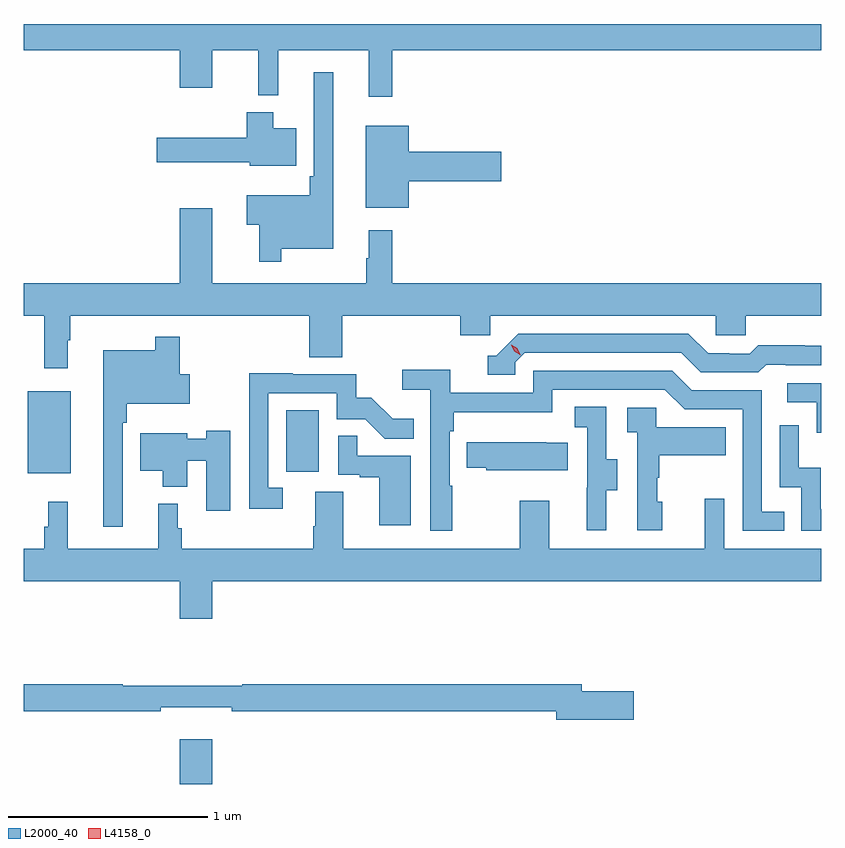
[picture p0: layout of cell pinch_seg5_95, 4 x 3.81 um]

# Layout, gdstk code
import gdstk
lib = gdstk.Library(unit=1e-6, precision=1e-09)
def R(c, l, rs):  # rectangles x0, y0, x1, y1
    for r in rs: c.add(gdstk.rectangle(r[:2], r[2:], *l))
def P(c, l, *ps):  # polygons
    for p in ps: c.add(gdstk.Polygon(p, *l))
L2000_40 = (2000, 40)
L4158_0 = (4158, 0)

pinch_seg5_95 = lib.new_cell('pinch_seg5_95')
R(pinch_seg5_95, L2000_40, [(1076.096,911.687,1076.26,911.911), (1075.334,913.247,1075.549,913.657), (1076.63,913.254,1076.794,913.561)])
P(pinch_seg5_95, L2000_40, [(1077.161,915.368),(1079.314,915.368),(1079.314,915.5),(1075.314,915.5),(1075.314,915.368),(1076.096,915.368),(1076.096,915.18),(1076.26,915.18),(1076.26,915.368),(1076.491,915.368),(1076.491,915.143),(1076.591,915.143),(1076.591,915.368),(1077.044,915.368),(1077.044,915.135),(1077.161,915.135)],
  [(1076.605,914.372),(1076.866,914.372),(1076.866,915.259),(1076.769,915.259),(1076.769,914.737),(1076.749,914.737),(1076.749,914.641),(1076.432,914.641),(1076.432,914.494),(1076.494,914.494),(1076.494,914.307),(1076.605,914.307)],
  [(1076.68,914.977),(1076.566,914.977),(1076.566,915.058),(1076.432,915.058),(1076.432,914.929),(1075.98,914.929),(1075.98,914.807),(1076.448,914.807),(1076.448,914.789),(1076.68,914.789)],
  [(1077.244,914.711),(1077.709,914.711),(1077.709,914.858),(1077.244,914.858),(1077.244,914.989),(1077.029,914.989),(1077.029,914.579),(1077.244,914.579)],
  [(1075.534,913.913),(1075.546,913.913),(1075.546,914.036),(1076.747,914.036),(1076.747,913.828),(1076.912,913.828),(1076.912,914.036),(1077.503,914.036),(1077.503,913.938),(1077.654,913.938),(1077.654,914.036),(1078.785,914.036),(1078.785,913.938),(1078.935,913.938),(1078.935,914.036),(1079.314,914.036),(1079.314,914.2),(1077.161,914.2),(1077.161,914.464),(1077.044,914.464),(1077.044,914.324),(1077.033,914.324),(1077.033,914.2),(1076.26,914.2),(1076.26,914.575),(1076.096,914.575),(1076.096,914.2),(1075.314,914.2),(1075.314,914.036),(1075.417,914.036),(1075.417,913.773),(1075.534,913.773)],
  [(1077.78,913.803),(1077.828,913.851),(1078.611,913.851),(1078.71,913.752),(1078.999,913.752),(1079.038,913.791),(1079.137,913.791),(1079.137,913.788),(1079.314,913.788),(1079.314,913.885),(1079.232,913.885),(1079.232,913.888),(1078.999,913.888),(1078.957,913.845),(1078.854,913.845),(1078.854,913.848),(1078.747,913.848),(1078.648,913.947),(1077.795,913.947),(1077.684,913.836),(1077.641,913.836),(1077.641,913.74),(1077.78,913.74)],
  [(1075.809,913.499),(1075.829,913.499),(1075.829,913.595),(1076.146,913.595),(1076.146,913.743),(1076.095,913.743),(1076.095,913.93),(1075.974,913.93),(1075.974,913.864),(1075.712,913.864),(1075.712,912.978),(1075.809,912.978)],
  [(1077.463,913.184),(1077.45,913.184),(1077.45,913.457),(1077.47,913.457),(1077.47,913.553),(1077.966,913.553),(1077.966,913.665),(1078.53,913.665),(1078.629,913.566),(1078.92,913.566),(1078.92,912.957),(1079.129,912.957),(1079.129,913.053),(1079.016,913.053),(1079.016,913.662),(1078.666,913.662),(1078.567,913.761),(1077.87,913.761),(1077.87,913.65),(1077.452,913.65),(1077.452,913.766),(1077.213,913.766),(1077.213,913.664),(1077.354,913.664),(1077.354,912.957),(1077.463,912.957)],
  [(1076.614,913.173),(1076.541,913.173),(1076.541,913.647),(1076.883,913.647),(1076.883,913.518),(1077.027,913.518),(1077.125,913.42),(1077.269,913.42),(1077.269,913.519),(1077.165,913.519),(1077.058,913.626),(1076.982,913.626),(1076.982,913.743),(1076.663,913.743),(1076.663,913.748),(1076.445,913.748),(1076.445,913.068),(1076.614,913.068)],
  [(1079.314,913.698),(1079.145,913.698),(1079.145,913.602),(1079.292,913.602),(1079.292,913.449),(1079.314,913.449)],
  [(1078.237,913.162),(1078.291,913.162),(1078.291,913.317),(1078.236,913.317),(1078.236,913.58),(1078.077,913.58),(1078.077,913.477),(1078.14,913.477),(1078.14,913.173),(1078.139,913.173),(1078.139,912.96),(1078.237,912.96)],
  [(1078.516,913.104),(1078.491,913.104),(1078.491,913.223),(1078.501,913.223),(1078.501,913.337),(1078.835,913.337),(1078.835,913.477),(1078.488,913.477),(1078.488,913.575),(1078.341,913.575),(1078.341,913.451),(1078.392,913.451),(1078.392,912.96),(1078.516,912.96)],
  [(1079.314,913.066),(1079.312,913.066),(1079.312,913.274),(1079.202,913.274),(1079.202,913.486),(1079.106,913.486),(1079.106,913.176),(1079.214,913.176),(1079.214,912.957),(1079.314,912.957)],
  [(1076.35,913.46),(1076.228,913.46),(1076.228,913.418),(1076.134,913.418),(1076.134,913.447),(1075.898,913.447),(1075.898,913.259),(1076.012,913.259),(1076.012,913.178),(1076.134,913.178),(1076.134,913.308),(1076.228,913.308),(1076.228,913.059),(1076.35,913.059)],
  [(1077.256,913.335),(1076.987,913.335),(1076.987,913.433),(1076.892,913.433),(1076.892,913.239),(1076.999,913.239),(1076.999,913.227),(1077.098,913.227),(1077.098,912.984),(1077.256,912.984)],
  [(1078.043,913.399),(1077.935,913.399),(1077.935,913.402),(1077.535,913.402),(1077.535,913.273),(1077.633,913.273),(1077.633,913.262),(1078.043,913.262)],
  [(1076.26,912.704),(1079.314,912.704),(1079.314,912.868),(1078.827,912.868),(1078.827,913.117),(1078.73,913.117),(1078.73,912.868),(1077.949,912.868),(1077.949,913.108),(1077.802,913.108),(1077.802,912.868),(1076.917,912.868),(1076.917,913.154),(1076.777,913.154),(1076.777,912.98),(1076.765,912.98),(1076.765,912.868),(1076.105,912.868),(1076.105,912.971),(1076.086,912.971),(1076.086,913.093),(1075.988,913.093),(1075.988,912.868),(1075.535,912.868),(1075.535,913.102),(1075.436,913.102),(1075.436,912.977),(1075.417,912.977),(1075.417,912.868),(1075.314,912.868),(1075.314,912.704),(1076.096,912.704),(1076.096,912.516),(1076.26,912.516)],
  [(1078.375,912.152),(1078.114,912.152),(1078.114,912.188),(1076.41,912.188),(1076.41,912.181),(1075.81,912.181),(1075.81,912.188),(1075.314,912.188),(1075.314,912.052),(1076,912.052),(1076,912.071),(1076.356,912.071),(1076.356,912.052),(1077.986,912.052),(1077.986,912.01),(1078.375,912.01)])
P(pinch_seg5_95, L4158_0, [(1077.806,913.839),(1077.775,913.859),(1077.76,913.891),(1077.76,913.892),(1077.76,913.892),(1077.79,913.872),(1077.806,913.839),(1077.806,913.839)])

lib.write_gds('pinch_seg5_95.gds')
